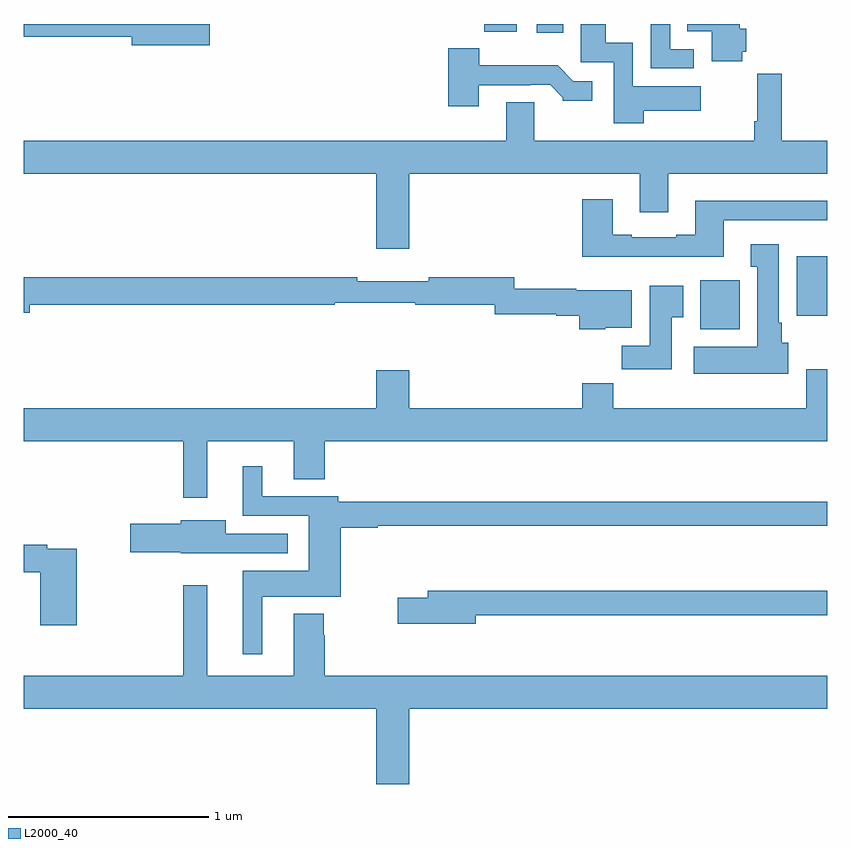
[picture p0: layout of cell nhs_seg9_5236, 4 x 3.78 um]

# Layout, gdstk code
import gdstk
lib = gdstk.Library(unit=1e-6, precision=1e-09)
def R(c, l, rs):  # rectangles x0, y0, x1, y1
    for r in rs: c.add(gdstk.rectangle(r[:2], r[2:], *l))
def P(c, l, *ps):  # polygons
    for p in ps: c.add(gdstk.Polygon(p, *l))
L2000_40 = (2000, 40)

nhs_seg9_5236 = lib.new_cell('nhs_seg9_5236')
R(nhs_seg9_5236, L2000_40, [(418.367,1192.982,418.564,1193.224), (418.847,1193.048,419,1193.344), (417.554,1194.456,417.685,1194.5), (417.292,1194.461,417.454,1194.5)])
P(nhs_seg9_5236, L2000_40, [(418.577,1194.363),(418.595,1194.363),(418.595,1194.477),(418.564,1194.477),(418.564,1194.5),(418.303,1194.5),(418.303,1194.464),(418.424,1194.464),(418.424,1194.314),(418.577,1194.314)],
  [(418.085,1194.068),(418.369,1194.068),(418.369,1194.19),(418.032,1194.19),(418.032,1194.406),(417.898,1194.406),(417.898,1194.5),(417.773,1194.5),(417.773,1194.309),(417.936,1194.309),(417.936,1194.006),(418.085,1194.006)],
  [(418.336,1194.375),(418.218,1194.375),(418.218,1194.5),(418.122,1194.5),(418.122,1194.279),(418.336,1194.279)],
  [(415.927,1194.5),(415,1194.5),(415,1194.436),(415.538,1194.436),(415.538,1194.394),(415.927,1194.394)],
  [(417.265,1194.195),(417.521,1194.195),(417.521,1194.198),(417.62,1194.198),(417.684,1194.134),(417.684,1194.119),(417.829,1194.119),(417.829,1194.216),(417.735,1194.216),(417.657,1194.295),(417.268,1194.295),(417.268,1194.379),(417.113,1194.379),(417.113,1194.09),(417.265,1194.09)],
  [(416.92,1193.756),(418.067,1193.756),(418.067,1193.562),(418.207,1193.562),(418.207,1193.756),(419,1193.756),(419,1193.92),(418.772,1193.92),(418.772,1194.253),(418.651,1194.253),(418.651,1194.016),(418.636,1194.016),(418.636,1193.92),(417.541,1193.92),(417.541,1194.11),(417.401,1194.11),(417.401,1193.92),(415,1193.92),(415,1193.756),(416.756,1193.756),(416.756,1193.382),(416.92,1193.382)],
  [(418.483,1193.523),(419,1193.523),(419,1193.62),(418.343,1193.62),(418.343,1193.452),(418.247,1193.452),(418.247,1193.439),(418.027,1193.439),(418.027,1193.452),(417.931,1193.452),(417.931,1193.629),(417.779,1193.629),(417.779,1193.342),(418.483,1193.342)],
  [(418.804,1192.914),(418.774,1192.914),(418.774,1193.014),(418.759,1193.014),(418.759,1193.404),(418.619,1193.404),(418.619,1193.291),(418.652,1193.291),(418.652,1192.894),(418.335,1192.894),(418.335,1192.76),(418.804,1192.76)],
  [(417.894,1192.988),(418.027,1192.988),(418.027,1193.176),(417.751,1193.176),(417.751,1193.183),(417.441,1193.183),(417.441,1193.24),(417.016,1193.24),(417.016,1193.221),(416.66,1193.221),(416.66,1193.24),(415,1193.24),(415,1193.062),(415.03,1193.062),(415.03,1193.104),(416.548,1193.104),(416.548,1193.112),(416.948,1193.112),(416.948,1193.104),(417.345,1193.104),(417.345,1193.055),(417.651,1193.055),(417.651,1193.047),(417.764,1193.047),(417.764,1192.982),(417.894,1192.982)],
  [(418.225,1193.041),(418.282,1193.041),(418.282,1193.197),(418.115,1193.197),(418.115,1192.9),(417.976,1192.9),(417.976,1192.782),(418.225,1192.782)],
  [(415.915,1192.424),(416.345,1192.424),(416.345,1192.234),(416.498,1192.234),(416.498,1192.424),(419,1192.424),(419,1192.783),(418.895,1192.783),(418.895,1192.588),(417.935,1192.588),(417.935,1192.712),(417.779,1192.712),(417.779,1192.588),(416.92,1192.588),(416.92,1192.777),(416.756,1192.777),(416.756,1192.588),(415,1192.588),(415,1192.424),(415.794,1192.424),(415.794,1192.143),(415.915,1192.143)],
  [(416.188,1191.65),(416.579,1191.65),(416.579,1191.994),(416.762,1191.994),(416.762,1192.002),(419,1192.002),(419,1192.123),(416.566,1192.123),(416.566,1192.149),(416.188,1192.149),(416.188,1192.3),(416.09,1192.3),(416.09,1192.053),(416.42,1192.053),(416.42,1191.778),(416.09,1191.778),(416.09,1191.363),(416.188,1191.363)],
  [(416.001,1191.867),(416.314,1191.867),(416.314,1191.963),(416.005,1191.963),(416.005,1192.03),(415.782,1192.03),(415.782,1192.014),(415.53,1192.014),(415.53,1191.872),(415.782,1191.872),(415.782,1191.866),(416.001,1191.866)],
  [(415.265,1191.888),(415.118,1191.888),(415.118,1191.908),(415,1191.908),(415,1191.772),(415.082,1191.772),(415.082,1191.507),(415.265,1191.507)],
  [(416.92,1191.092),(419,1191.092),(419,1191.256),(416.498,1191.256),(416.498,1191.458),(416.493,1191.458),(416.493,1191.565),(416.345,1191.565),(416.345,1191.256),(415.915,1191.256),(415.915,1191.706),(415.794,1191.706),(415.794,1191.256),(415,1191.256),(415,1191.092),(416.756,1191.092),(416.756,1190.718),(416.92,1190.718)],
  [(417.25,1191.558),(419,1191.558),(419,1191.679),(417.011,1191.679),(417.011,1191.645),(416.862,1191.645),(416.862,1191.515),(417.25,1191.515)])

lib.write_gds('nhs_seg9_5236.gds')
